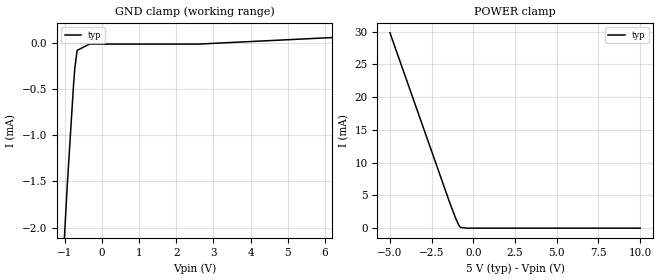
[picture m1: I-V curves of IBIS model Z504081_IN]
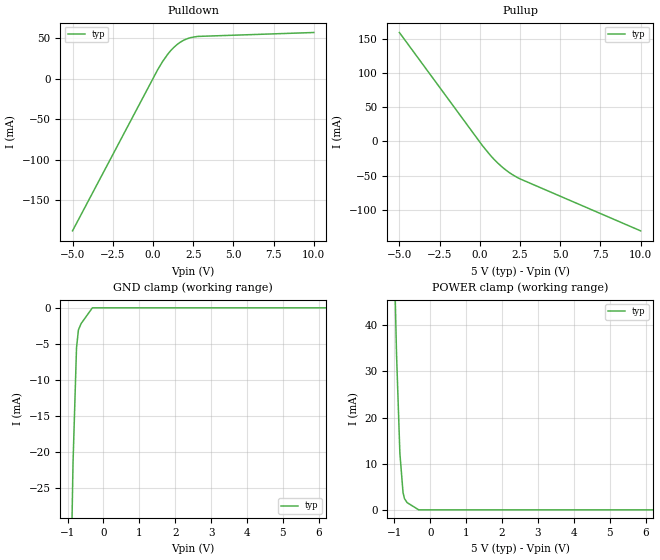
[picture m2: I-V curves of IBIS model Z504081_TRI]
| YOU ARE ONLY AUTHORIZED TO USE THIS SOFTWARE
| ACCORDING TO LICENSOR'S LICENSE RESTRICTIONS.
[IBIS Ver] 3.1
[File Name] mc54hc244aj.ibs
[File Rev] 2.0
[Source] Measured and created by ICX Technology
[Date] Friday 7/14/00 9:08:06 AM
[Copyright]
| (C) COPYRIGHT 1993-2000
| MENTOR GRAPHICS CORPORATION
| ICX STANDARD LIBRARY, ICX PROJECT MODELING,
| ICX CUSTOM MODELING, ICX VENDOR MODEL
| ALL RIGHTS RESERVED.
| THE FOLLOWING ARE TRADEMARKS OR SERVICE MARKS OF
| MENTOR GRAPHICS CORPORATION:ICX (R), ICX STANDARD
| LIBRARY(R), ICX PROJECT MODELING(R), ICX CUSTOM
| MODELING(R), qualityIBIS(TM), MODELVIEWER(TM),
| AND MODELEDITOR(TM)
| ALL COPIES OF SOFTWARE, INCLUDING BUT NOT LIMITED TO
| ANY MODIFICATIONS, ENHANCEMENTS OR DERIVATIVE WORKS,
| MUST CONTAIN ALL MENTOR GRAPHICS CORPORATION'S
| NOTICES AND LEGENDS, INCLUDING THOSE EMBEDDED IN
| SOFTWARE AND THOSE AFFIXED TO SOFTWARE MEDIUM
| AND CONTAINER, AS RECEIVED FROM MENTOR GRAPHICS
| CORPORATION.
|  ZAP Model Builder 2.7
[Component] MC54HC244AJ
[Manufacturer] OnSemiconductor
[Package]
| variable   typ   min   max
R_pkg  .216ohms NA NA
L_pkg  5.76nH NA NA
C_pkg  2.193pF NA NA
[Pin] signal_name  model_name  R_pin  L_pin C_pin
1 _G Z504081_IN .232 9.76n 3.179p
2 A0 Z504081_IN .224 7.26n 2.686p
3 Y3 Z504081_TRI .216 5.26n 2.193p
4 A1 Z504081_IN .208 3.76n 1.7p
5 Y2 Z504081_TRI .2 2.76n 1.207p
6 A2 Z504081_IN .2 2.76n 1.207p
7 Y1 Z504081_TRI .208 3.76n 1.7p
8 A3 Z504081_IN .216 5.26n 2.193p
9 Y0 Z504081_TRI .224 7.26n 2.686p
10 GND GND .232 9.76n 3.179p
11 A0 Z504081_IN .232 9.76n 3.179p
12 Y3 Z504081_TRI .224 7.26n 2.686p
13 A1 Z504081_IN .216 5.26n 2.193p
14 Y2 Z504081_TRI .208 3.76n 1.7p
15 A2 Z504081_IN .2 2.76n 1.207p
16 Y1 Z504081_TRI .2 2.76n 1.207p
17 A3 Z504081_IN .208 3.76n 1.7p
18 Y0 Z504081_TRI .216 5.26n 2.193p
19 _G Z504081_IN .224 7.26n 2.686p
20 VCC POWER .232 9.76n 3.179p
| Models and submodels in the file (2): Z504081_IN (Input), Z504081_TRI (3-state)
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| (C) COPYRIGHT 1993-2000
| MENTOR GRAPHICS CORPORATION
| ICX STANDARD LIBRARY, ICX PROJECT MODELING,
| ICX CUSTOM MODELING, ICX VENDOR MODEL
| ALL RIGHTS RESERVED.
| THE FOLLOWING ARE TRADEMARKS OR SERVICE MARKS OF
| MENTOR GRAPHICS CORPORATION:ICX (R), ICX STANDARD
| LIBRARY(R), ICX PROJECT MODELING(R), ICX CUSTOM
| MODELING(R), qualityIBIS(TM), MODELVIEWER(TM),
| AND MODELEDITOR(TM)
| ALL COPIES OF SOFTWARE, INCLUDING BUT NOT LIMITED TO
| ANY MODIFICATIONS, ENHANCEMENTS OR DERIVATIVE WORKS,
| MUST CONTAIN ALL MENTOR GRAPHICS CORPORATION'S
| NOTICES AND LEGENDS, INCLUDING THOSE EMBEDDED IN
| SOFTWARE AND THOSE AFFIXED TO SOFTWARE MEDIUM
| AND CONTAINER, AS RECEIVED FROM MENTOR GRAPHICS
| CORPORATION.
| Model Application Version 1.89 2/18/99.
[Model] Z504081_IN
Model_type Input
Vinl = 1.000V
Vinh = 3.500V
C_comp 4.000pF NA NA
| variable typ   min   max
[Voltage Range] 5.000V NA NA
[GND Clamp Reference] 0.000V NA NA
[POWER Clamp Reference] 5.000V NA NA
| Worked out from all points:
|   GND clamp passes 1 mA (typ) near -0.85 V on its own axis
|   POWER clamp passes 1 mA (typ) near -0.97 V on its own axis
[GND Clamp]
-5V       -33.03mA   NA         NA
-1.323V   -4.457mA   NA         NA
-932.6mV  -1.562mA   NA         NA
-763.4mV  -469.8uA   NA         NA
-727.4mV  -277.6uA   NA         NA
-664.1mV  -78.86uA   NA         NA
-332mV    -10.13uA   NA         NA
2.599V    -10.13uA   NA         NA
10V       135.9uA    NA         NA
[POWER Clamp]
-5V       29.81mA    NA         NA
-1.392V   3.7mA      NA         NA
-1.073V   1.575mA    NA         NA
-884mV    501.9uA    NA         NA
-790mV    125.6uA    NA         NA
-395mV    0A         NA         NA
10V       0A         NA         NA
| (C) COPYRIGHT 1993-2000
| MENTOR GRAPHICS CORPORATION
| ICX STANDARD LIBRARY, ICX PROJECT MODELING,
| ICX CUSTOM MODELING, ICX VENDOR MODEL
| ALL RIGHTS RESERVED.
| THE FOLLOWING ARE TRADEMARKS OR SERVICE MARKS OF
| MENTOR GRAPHICS CORPORATION:ICX (R), ICX STANDARD
| LIBRARY(R), ICX PROJECT MODELING(R), ICX CUSTOM
| MODELING(R), qualityIBIS(TM), MODELVIEWER(TM),
| AND MODELEDITOR(TM)
| ALL COPIES OF SOFTWARE, INCLUDING BUT NOT LIMITED TO
| ANY MODIFICATIONS, ENHANCEMENTS OR DERIVATIVE WORKS,
| MUST CONTAIN ALL MENTOR GRAPHICS CORPORATION'S
| NOTICES AND LEGENDS, INCLUDING THOSE EMBEDDED IN
| SOFTWARE AND THOSE AFFIXED TO SOFTWARE MEDIUM
| AND CONTAINER, AS RECEIVED FROM MENTOR GRAPHICS
| CORPORATION.
| Model Application Version 1.89 2/18/99.
[Model] Z504081_TRI
Model_type 3-state
Vref=0.000V
Rref=500.0Mohms
Cref=50.00pF
Vmeas=2.500V
C_comp 8.000pF NA NA
| variable typ   min   max
[Voltage Range] 5.000V NA NA
[POWER Clamp Reference] 5.000V NA NA
[Pullup Reference] 5.000V NA NA
[Pulldown Reference] 0.000V NA NA
[GND Clamp Reference] 0.000V NA NA
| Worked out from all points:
|   slope of the pulldown table from 0 to 0.75 V, typ, clamps not added: 29.6 ohm
|   slope of the pullup table from 0 to 0.75 V, typ, clamps not added: 34.4 ohm
[GND Clamp]
-5V       -1.173A    NA         NA
-849.3mV  -21.55mA   NA         NA
-752mV    -5.54mA    NA         NA
-698.2mV  -3.045mA   NA         NA
-620.1mV  -2.161mA   NA         NA
-310.1mV  0A         NA         NA
10V       0A         NA         NA
[Pulldown]
-5V       -187.4mA   NA         NA
295.5mV   10.98mA    NA         NA
605.5mV   21.19mA    NA         NA
911.7mV   29.77mA    NA         NA
1.108V    34.62mA    NA         NA
1.518V    42.26mA    NA         NA
2.051V    48.51mA    NA         NA
2.744V    51.94mA    NA         NA
10V       56.8mA     NA         NA
[Pullup]
-5V       159.1mA    NA         NA
177mV     -6.658mA   NA         NA
659mV     -20.44mA   NA         NA
854mV     -25.53mA   NA         NA
1.13V     -31.96mA   NA         NA
1.362V    -36.95mA   NA         NA
1.538V    -40.37mA   NA         NA
1.792V    -44.95mA   NA         NA
2.026V    -48.62mA   NA         NA
2.363V    -53.18mA   NA         NA
2.539V    -55.21mA   NA         NA
10V       -130.8mA   NA         NA
[POWER Clamp]
-5V       1.377A     NA         NA
-943mV    33.66mA    NA         NA
-850mV    12.27mA    NA         NA
-762mV    3.773mA    NA         NA
-723mV    2.452mA    NA         NA
-649mV    1.571mA    NA         NA
-324.5mV  0A         NA         NA
10V       0A         NA         NA
[Ramp]
| variable typ min max
dV/dt_r 2.834/2.401n NA NA
dV/dt_f 2.834/1.954n NA NA
R_load = 500.0Ohms
